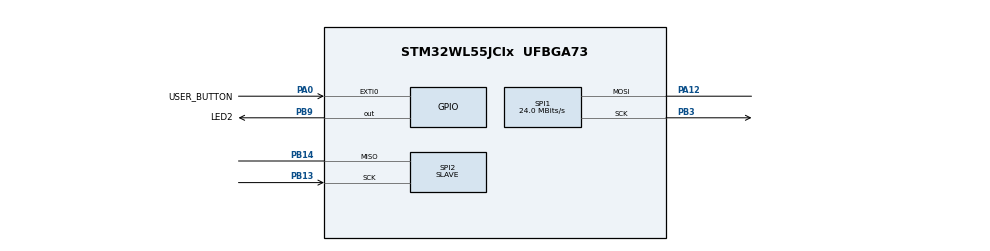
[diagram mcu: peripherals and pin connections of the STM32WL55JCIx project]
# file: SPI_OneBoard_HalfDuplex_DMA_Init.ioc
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Dma.Request0=SPI1_TX
Dma.Request1=SPI2_RX
Dma.SPI1_TX.0.Channel_PRIV_NPRIV=DMA_CHANNEL_NPRIV_DISABLE
Dma.SPI1_TX.0.Direction=DMA_MEMORY_TO_PERIPH
Dma.SPI1_TX.0.EventEnable=DISABLE
Dma.SPI1_TX.0.Instance=DMA1_Channel3
Dma.SPI1_TX.0.MemDataAlignment=DMA_MDATAALIGN_BYTE
Dma.SPI1_TX.0.MemInc=DMA_MINC_ENABLE
Dma.SPI1_TX.0.Mode=DMA_NORMAL
Dma.SPI1_TX.0.PeriphDataAlignment=DMA_PDATAALIGN_BYTE
Dma.SPI1_TX.0.PeriphInc=DMA_PINC_DISABLE
Dma.SPI1_TX.0.Polarity=HAL_DMAMUX_REQ_GEN_RISING
Dma.SPI1_TX.0.Priority=DMA_PRIORITY_LOW
Dma.SPI1_TX.0.RequestNumber=1
Dma.SPI1_TX.0.SignalID=NONE
Dma.SPI1_TX.0.SyncEnable=DISABLE
Dma.SPI1_TX.0.SyncPolarity=HAL_DMAMUX_SYNC_NO_EVENT
Dma.SPI1_TX.0.SyncRequestNumber=1
Dma.SPI1_TX.0.SyncSignalID=NONE
Dma.SPI2_RX.1.Channel_PRIV_NPRIV=DMA_CHANNEL_NPRIV_DISABLE
Dma.SPI2_RX.1.Direction=DMA_PERIPH_TO_MEMORY
Dma.SPI2_RX.1.EventEnable=DISABLE
Dma.SPI2_RX.1.Instance=DMA2_Channel1
Dma.SPI2_RX.1.MemDataAlignment=DMA_MDATAALIGN_BYTE
Dma.SPI2_RX.1.MemInc=DMA_MINC_ENABLE
Dma.SPI2_RX.1.Mode=DMA_NORMAL
Dma.SPI2_RX.1.PeriphDataAlignment=DMA_PDATAALIGN_BYTE
Dma.SPI2_RX.1.PeriphInc=DMA_PINC_DISABLE
Dma.SPI2_RX.1.Polarity=HAL_DMAMUX_REQ_GEN_RISING
Dma.SPI2_RX.1.Priority=DMA_PRIORITY_LOW
Dma.SPI2_RX.1.RequestNumber=1
Dma.SPI2_RX.1.SignalID=NONE
Dma.SPI2_RX.1.SyncEnable=DISABLE
Dma.SPI2_RX.1.SyncPolarity=HAL_DMAMUX_SYNC_NO_EVENT
Dma.SPI2_RX.1.SyncRequestNumber=1
Dma.SPI2_RX.1.SyncSignalID=NONE
Mcu.Family=STM32WL
Mcu.Name=STM32WL55JCIx
Mcu.Package=UFBGA73
NVIC.DMA1_Channel3_IRQn=true\:0\:0\:false\:false\:true\:false\:true
NVIC.DMA2_Channel1_IRQn=true\:0\:0\:false\:false\:true\:false\:true
NVIC.EXTI0_IRQn=true\:0\:0\:false\:false\:true\:true\:true
NVIC.PriorityGroup=NVIC_PRIORITYGROUP_4
PA0.GPIO_Label=USER_BUTTON
PA0.GPIO_ModeDefaultEXTI=GPIO_MODE_IT_FALLING
PA0.GPIO_PuPd=GPIO_PULLUP
PA0.Signal=GPXTI0
PA12.GPIO_PuPd=GPIO_PULLDOWN
PA12.GPIO_Speed=GPIO_SPEED_FREQ_HIGH
PA12.Mode=Simplex_Bidirectional_Master
PA12.Signal=SPI1_MOSI
PB13.GPIO_PuPd=GPIO_PULLDOWN
PB13.GPIO_Speed=GPIO_SPEED_FREQ_HIGH
PB13.Mode=Simplex_Bidirectional_Slave
PB13.Signal=SPI2_SCK
PB14.GPIO_PuPd=GPIO_PULLDOWN
PB14.GPIO_Speed=GPIO_SPEED_FREQ_HIGH
PB14.Mode=Simplex_Bidirectional_Slave
PB14.Signal=SPI2_MISO
PB3.GPIO_PuPd=GPIO_PULLDOWN
PB3.GPIO_Speed=GPIO_SPEED_FREQ_HIGH
PB3.Mode=Simplex_Bidirectional_Master
PB3.Signal=SPI1_SCK
PB9.GPIO_Label=LED2
PB9.Signal=GPIO_Output
ProjectManager.HeapSize=0x200
ProjectManager.StackSize=0x400
ProjectManager.TargetToolchain=EWARM V8
RCC.AHBFreq_Value=48000000
RCC.APB1Freq_Value=48000000
RCC.APB1TimFreq_Value=48000000
RCC.APB2Freq_Value=48000000
RCC.APB2TimFreq_Value=48000000
RCC.APB3Freq_Value=48000000
RCC.CortexFreq_Value=48000000
RCC.HCLKFreq_Value=48000000
RCC.HSE_VALUE=8000000
RCC.HSI_VALUE=16000000
RCC.LSE_VALUE=32768
RCC.MSIClockRange=RCC_MSIRANGE_11
RCC.SYSCLKFreq_VALUE=48000000
RCC.VCOOutputFreq_Value=384000000
SPI1.CLKPhase=SPI_PHASE_2EDGE
SPI1.CLKPolarity=SPI_POLARITY_HIGH
SPI1.CRCCalculation=SPI_CRCCALCULATION_DISABLE
SPI1.CalculateBaudRate=24.0 MBits/s
SPI1.DataSize=SPI_DATASIZE_8BIT
SPI1.Direction=SPI_DIRECTION_1LINE
SPI1.FirstBit=SPI_FIRSTBIT_MSB
SPI1.Mode=SPI_MODE_MASTER
SPI1.NSS=SPI_NSS_SOFT
SPI1.TIMode=SPI_TIMODE_DISABLE
SPI1.VirtualType=VM_MASTER
SPI2.CLKPhase=SPI_PHASE_2EDGE
SPI2.CLKPolarity=SPI_POLARITY_HIGH
SPI2.CRCCalculation=SPI_CRCCALCULATION_DISABLE
SPI2.DataSize=SPI_DATASIZE_8BIT
SPI2.Direction=SPI_DIRECTION_1LINE
SPI2.FirstBit=SPI_FIRSTBIT_MSB
SPI2.Mode=SPI_MODE_SLAVE
SPI2.NSS=SPI_NSS_SOFT
SPI2.TIMode=SPI_TIMODE_DISABLE
SPI2.VirtualType=VM_SLAVE
board=custom

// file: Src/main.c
/* USER CODE BEGIN Header */
/**
  ******************************************************************************
  * @file    Examples_LL/SPI/SPI_OneBoard_HalfDuplex_DMA_Init/Src/main.c
  * @author  MCD Application Team
  * @brief   This example describes how to send/receive bytes over SPI IP using
  *          the STM32WLxx SPI LL API.
  *          Peripheral initialization done using LL initialization function.
  ******************************************************************************
  * @attention
  *
  * <h2><center>&copy; Copyright (c) 2020 STMicroelectronics.
  * All rights reserved.</center></h2>
  *
  * This software component is licensed by ST under BSD 3-Clause license,
  * the "License"; You may not use this file except in compliance with the
  * License. You may obtain a copy of the License at:
  *                        opensource.org/licenses/BSD-3-Clause
  *
  ******************************************************************************
  */
/* USER CODE END Header */
#include "main.h"

/* USER CODE BEGIN PTD */
LL_SPI_InitTypeDef spi_initstruct;
/* USER CODE END PTD */

/* USER CODE BEGIN PV */
__IO uint8_t ubButtonPress = 0;

/* Buffer used for transmission */
uint8_t aTxBuffer[] = "**** SPI_OneBoard_HalfDuplex_DMA_Init communication **** SPI_OneBoard_HalfDuplex_DMA_Init communication **** SPI_OneBoard_HalfDuplex_DMA_Init communication ****";
uint8_t ubNbDataToTransmit = sizeof(aTxBuffer);
__IO uint8_t ubTransmissionComplete = 0;

/* Buffer used for reception */
uint8_t aRxBuffer[sizeof(aTxBuffer)];
uint8_t ubNbDataToReceive = sizeof(aTxBuffer);
__IO uint8_t ubReceptionComplete = 0;
/* USER CODE END PV */

void SystemClock_Config(void);
static void MX_GPIO_Init(void);
static void MX_DMA_Init(void);
static void MX_SPI1_Init(void);
static void MX_SPI2_Init(void);
/* USER CODE BEGIN PFP */
void     SystemClock_Config(void);
void     Activate_SPI1(void);
void     Activate_SPI2(void);
void     LED_On(void);
void     LED_Blinking(uint32_t Period);
void     LED_Off(void);
void     UserButton_Init(void);
void     WaitForUserButtonPress(void);
void     WaitAndCheckEndOfTransfer(void);
uint8_t  Buffercmp8(uint8_t *pBuffer1, uint8_t *pBuffer2, uint8_t BufferLength);
/* USER CODE END PFP */

int main(void)
{

  /* MCU Configuration--------------------------------------------------------*/

  /* Reset of all peripherals, Initializes the Flash interface and the Systick. */

  NVIC_SetPriorityGrouping(NVIC_PRIORITYGROUP_4);

  /* System interrupt init*/

  /* Configure the system clock */
  SystemClock_Config();

  /* Initialize all configured peripherals */
  MX_GPIO_Init();
  MX_DMA_Init();
  MX_SPI1_Init();
  MX_SPI2_Init();
  /* USER CODE BEGIN 2 */
  /* Configure the DMA1_Channel3 functional parameters */
  LL_DMA_ConfigTransfer(DMA1,
                        LL_DMA_CHANNEL_3,
                        LL_DMA_DIRECTION_MEMORY_TO_PERIPH | LL_DMA_PRIORITY_HIGH | LL_DMA_MODE_NORMAL |
                        LL_DMA_PERIPH_NOINCREMENT | LL_DMA_MEMORY_INCREMENT |
                        LL_DMA_PDATAALIGN_BYTE | LL_DMA_MDATAALIGN_BYTE);
  LL_DMA_ConfigAddresses(DMA1,
                         LL_DMA_CHANNEL_3,
                         (uint32_t)aTxBuffer, LL_SPI_DMA_GetRegAddr(SPI1),
                         LL_DMA_GetDataTransferDirection(DMA1, LL_DMA_CHANNEL_3));

  LL_DMA_SetDataLength(DMA1, LL_DMA_CHANNEL_3, ubNbDataToTransmit);
  LL_DMA_SetPeriphRequest(DMA1, LL_DMA_CHANNEL_3, LL_DMAMUX_REQ_SPI1_TX);

  /* Configure the DMA2_Channel1 functional parameters */
  LL_DMA_ConfigTransfer(DMA2,
                        LL_DMA_CHANNEL_1,
                        LL_DMA_DIRECTION_PERIPH_TO_MEMORY | LL_DMA_PRIORITY_HIGH | LL_DMA_MODE_NORMAL |
                        LL_DMA_PERIPH_NOINCREMENT | LL_DMA_MEMORY_INCREMENT |
                        LL_DMA_PDATAALIGN_BYTE | LL_DMA_MDATAALIGN_BYTE);
  LL_DMA_ConfigAddresses(DMA2, LL_DMA_CHANNEL_1, LL_SPI_DMA_GetRegAddr(SPI2), (uint32_t)aRxBuffer,
                         LL_DMA_GetDataTransferDirection(DMA2, LL_DMA_CHANNEL_1));
  LL_DMA_SetDataLength(DMA2, LL_DMA_CHANNEL_1, ubNbDataToTransmit);
  LL_DMA_SetPeriphRequest(DMA2, LL_DMA_CHANNEL_1, LL_DMAMUX_REQ_SPI2_RX);

  /* Enable DMA interrupts complete/error */
  LL_DMA_EnableIT_TC(DMA1, LL_DMA_CHANNEL_3);
  LL_DMA_EnableIT_TE(DMA1, LL_DMA_CHANNEL_3);
  LL_DMA_EnableIT_TC(DMA2, LL_DMA_CHANNEL_1);
  LL_DMA_EnableIT_TE(DMA2, LL_DMA_CHANNEL_1);

  /* Initialize FFIFO Threshold */
  LL_SPI_SetRxFIFOThreshold(SPI1, LL_SPI_RX_FIFO_TH_QUARTER);

  /* Configure SPI1 DMA transfer interrupts */
  /* Enable DMA TX Interrupt */
  LL_SPI_EnableDMAReq_TX(SPI1);

  /* Initialize FFIFO Threshold */
  LL_SPI_SetRxFIFOThreshold(SPI2, LL_SPI_RX_FIFO_TH_QUARTER);

  /* Configure SPI1 DMA transfer interrupts */
  /* Enable DMA RX Interrupt */
  LL_SPI_EnableDMAReq_RX(SPI2);

  /* Enable the SPI2 peripheral */
  Activate_SPI2();

  /* Wait for User push-button (B1) press to start transfer */
  WaitForUserButtonPress();

  /* Enable the SPI1 peripheral */
  Activate_SPI1();

  /* Wait for the end of the transfer and check received data */
  /* LED blinking FAST during waiting time */
  WaitAndCheckEndOfTransfer();
  /* USER CODE END 2 */

  /* Infinite loop */
  while (1)
  {

  }
}

void SystemClock_Config(void)
{
  LL_FLASH_SetLatency(LL_FLASH_LATENCY_2);
  while(LL_FLASH_GetLatency() != LL_FLASH_LATENCY_2)
  {
  }

  LL_PWR_SetRegulVoltageScaling(LL_PWR_REGU_VOLTAGE_SCALE1);
  LL_RCC_HSI_Enable();

   /* Wait till HSI is ready */
  while(LL_RCC_HSI_IsReady() != 1)
  {
  }

  LL_RCC_HSI_SetCalibTrimming(64);
  LL_RCC_MSI_Enable();

   /* Wait till MSI is ready */
  while(LL_RCC_MSI_IsReady() != 1)
  {
  }

  LL_RCC_MSI_EnableRangeSelection();
  LL_RCC_MSI_SetRange(LL_RCC_MSIRANGE_11);
  LL_RCC_MSI_SetCalibTrimming(0);
  LL_RCC_SetSysClkSource(LL_RCC_SYS_CLKSOURCE_MSI);

   /* Wait till System clock is ready */
  while(LL_RCC_GetSysClkSource() != LL_RCC_SYS_CLKSOURCE_STATUS_MSI)
  {
  }

  LL_RCC_SetAHBPrescaler(LL_RCC_SYSCLK_DIV_1);
  LL_RCC_SetAHB3Prescaler(LL_RCC_SYSCLK_DIV_1);
  LL_RCC_SetAPB1Prescaler(LL_RCC_APB1_DIV_1);
  LL_RCC_SetAPB2Prescaler(LL_RCC_APB2_DIV_1);

  LL_Init1msTick(48000000);

  /* Update CMSIS variable (which can be updated also through SystemCoreClockUpdate function) */
  LL_SetSystemCoreClock(48000000);
}

static void MX_SPI1_Init(void)
{

  LL_SPI_InitTypeDef SPI_InitStruct = {0};

  LL_GPIO_InitTypeDef GPIO_InitStruct = {0};

  /* Peripheral clock enable */
  LL_APB2_GRP1_EnableClock(LL_APB2_GRP1_PERIPH_SPI1);

  LL_AHB2_GRP1_EnableClock(LL_AHB2_GRP1_PERIPH_GPIOA);
  LL_AHB2_GRP1_EnableClock(LL_AHB2_GRP1_PERIPH_GPIOB);
  /**SPI1 GPIO Configuration
  PA12   ------> SPI1_MOSI
  PB3   ------> SPI1_SCK
  */
  GPIO_InitStruct.Pin = LL_GPIO_PIN_12;
  GPIO_InitStruct.Mode = LL_GPIO_MODE_ALTERNATE;
  GPIO_InitStruct.Speed = LL_GPIO_SPEED_FREQ_HIGH;
  GPIO_InitStruct.OutputType = LL_GPIO_OUTPUT_PUSHPULL;
  GPIO_InitStruct.Pull = LL_GPIO_PULL_DOWN;
  GPIO_InitStruct.Alternate = LL_GPIO_AF_5;
  LL_GPIO_Init(GPIOA, &GPIO_InitStruct);

  GPIO_InitStruct.Pin = LL_GPIO_PIN_3;
  GPIO_InitStruct.Mode = LL_GPIO_MODE_ALTERNATE;
  GPIO_InitStruct.Speed = LL_GPIO_SPEED_FREQ_HIGH;
  GPIO_InitStruct.OutputType = LL_GPIO_OUTPUT_PUSHPULL;
  GPIO_InitStruct.Pull = LL_GPIO_PULL_DOWN;
  GPIO_InitStruct.Alternate = LL_GPIO_AF_5;
  LL_GPIO_Init(GPIOB, &GPIO_InitStruct);

  /* SPI1 DMA Init */

  /* SPI1_TX Init */
  LL_DMA_SetPeriphRequest(DMA1, LL_DMA_CHANNEL_3, LL_DMAMUX_REQ_SPI1_TX);

  LL_DMA_SetDataTransferDirection(DMA1, LL_DMA_CHANNEL_3, LL_DMA_DIRECTION_MEMORY_TO_PERIPH);

  LL_DMA_SetChannelPriorityLevel(DMA1, LL_DMA_CHANNEL_3, LL_DMA_PRIORITY_LOW);

  LL_DMA_SetMode(DMA1, LL_DMA_CHANNEL_3, LL_DMA_MODE_NORMAL);

  LL_DMA_SetPeriphIncMode(DMA1, LL_DMA_CHANNEL_3, LL_DMA_PERIPH_NOINCREMENT);

  LL_DMA_SetMemoryIncMode(DMA1, LL_DMA_CHANNEL_3, LL_DMA_MEMORY_INCREMENT);

  LL_DMA_SetPeriphSize(DMA1, LL_DMA_CHANNEL_3, LL_DMA_PDATAALIGN_BYTE);

  LL_DMA_SetMemorySize(DMA1, LL_DMA_CHANNEL_3, LL_DMA_MDATAALIGN_BYTE);

  LL_DMA_DisableChannelPrivilege(DMA1, LL_DMA_CHANNEL_3);

  /* SPI1 parameter configuration*/
  SPI_InitStruct.TransferDirection = LL_SPI_HALF_DUPLEX_TX;
  SPI_InitStruct.Mode = LL_SPI_MODE_MASTER;
  SPI_InitStruct.DataWidth = LL_SPI_DATAWIDTH_8BIT;
  SPI_InitStruct.ClockPolarity = LL_SPI_POLARITY_HIGH;
  SPI_InitStruct.ClockPhase = LL_SPI_PHASE_2EDGE;
  SPI_InitStruct.NSS = LL_SPI_NSS_SOFT;
  SPI_InitStruct.BaudRate = LL_SPI_BAUDRATEPRESCALER_DIV2;
  SPI_InitStruct.BitOrder = LL_SPI_MSB_FIRST;
  SPI_InitStruct.CRCCalculation = LL_SPI_CRCCALCULATION_DISABLE;
  SPI_InitStruct.CRCPoly = 7;
  LL_SPI_Init(SPI1, &SPI_InitStruct);
  LL_SPI_SetStandard(SPI1, LL_SPI_PROTOCOL_MOTOROLA);
  LL_SPI_DisableNSSPulseMgt(SPI1);

}

static void MX_SPI2_Init(void)
{

  LL_SPI_InitTypeDef SPI_InitStruct = {0};

  LL_GPIO_InitTypeDef GPIO_InitStruct = {0};

  LL_RCC_SetI2SClockSource(LL_RCC_I2S2_CLKSOURCE_HSI);

  /* Peripheral clock enable */
  LL_APB1_GRP1_EnableClock(LL_APB1_GRP1_PERIPH_SPI2);

  LL_AHB2_GRP1_EnableClock(LL_AHB2_GRP1_PERIPH_GPIOB);
  /**SPI2 GPIO Configuration
  PB14   ------> SPI2_MISO
  PB13   ------> SPI2_SCK
  */
  GPIO_InitStruct.Pin = LL_GPIO_PIN_14|LL_GPIO_PIN_13;
  GPIO_InitStruct.Mode = LL_GPIO_MODE_ALTERNATE;
  GPIO_InitStruct.Speed = LL_GPIO_SPEED_FREQ_HIGH;
  GPIO_InitStruct.OutputType = LL_GPIO_OUTPUT_PUSHPULL;
  GPIO_InitStruct.Pull = LL_GPIO_PULL_DOWN;
  GPIO_InitStruct.Alternate = LL_GPIO_AF_5;
  LL_GPIO_Init(GPIOB, &GPIO_InitStruct);

  /* SPI2 DMA Init */

  /* SPI2_RX Init */
  LL_DMA_SetPeriphRequest(DMA2, LL_DMA_CHANNEL_1, LL_DMAMUX_REQ_SPI2_RX);

  LL_DMA_SetDataTransferDirection(DMA2, LL_DMA_CHANNEL_1, LL_DMA_DIRECTION_PERIPH_TO_MEMORY);

  LL_DMA_SetChannelPriorityLevel(DMA2, LL_DMA_CHANNEL_1, LL_DMA_PRIORITY_LOW);

  LL_DMA_SetMode(DMA2, LL_DMA_CHANNEL_1, LL_DMA_MODE_NORMAL);

  LL_DMA_SetPeriphIncMode(DMA2, LL_DMA_CHANNEL_1, LL_DMA_PERIPH_NOINCREMENT);

  LL_DMA_SetMemoryIncMode(DMA2, LL_DMA_CHANNEL_1, LL_DMA_MEMORY_INCREMENT);

  LL_DMA_SetPeriphSize(DMA2, LL_DMA_CHANNEL_1, LL_DMA_PDATAALIGN_BYTE);

  LL_DMA_SetMemorySize(DMA2, LL_DMA_CHANNEL_1, LL_DMA_MDATAALIGN_BYTE);

  LL_DMA_DisableChannelPrivilege(DMA2, LL_DMA_CHANNEL_1);

  /* SPI2 parameter configuration*/
  SPI_InitStruct.TransferDirection = LL_SPI_HALF_DUPLEX_RX;
  SPI_InitStruct.Mode = LL_SPI_MODE_SLAVE;
  SPI_InitStruct.DataWidth = LL_SPI_DATAWIDTH_8BIT;
  SPI_InitStruct.ClockPolarity = LL_SPI_POLARITY_HIGH;
  SPI_InitStruct.ClockPhase = LL_SPI_PHASE_2EDGE;
  SPI_InitStruct.NSS = LL_SPI_NSS_SOFT;
  SPI_InitStruct.BitOrder = LL_SPI_MSB_FIRST;
  SPI_InitStruct.CRCCalculation = LL_SPI_CRCCALCULATION_DISABLE;
  SPI_InitStruct.CRCPoly = 7;
  LL_SPI_Init(SPI2, &SPI_InitStruct);
  LL_SPI_SetStandard(SPI2, LL_SPI_PROTOCOL_MOTOROLA);
  LL_SPI_DisableNSSPulseMgt(SPI2);

}

static void MX_DMA_Init(void)
{

  /* Init with LL driver */
  /* DMA controller clock enable */
  LL_AHB1_GRP1_EnableClock(LL_AHB1_GRP1_PERIPH_DMAMUX1);
  LL_AHB1_GRP1_EnableClock(LL_AHB1_GRP1_PERIPH_DMA1);
  LL_AHB1_GRP1_EnableClock(LL_AHB1_GRP1_PERIPH_DMA2);

  /* DMA interrupt init */
  /* DMA1_Channel3_IRQn interrupt configuration */
  NVIC_SetPriority(DMA1_Channel3_IRQn, NVIC_EncodePriority(NVIC_GetPriorityGrouping(),0, 0));
  NVIC_EnableIRQ(DMA1_Channel3_IRQn);
  /* DMA2_Channel1_IRQn interrupt configuration */
  NVIC_SetPriority(DMA2_Channel1_IRQn, NVIC_EncodePriority(NVIC_GetPriorityGrouping(),0, 0));
  NVIC_EnableIRQ(DMA2_Channel1_IRQn);

}

static void MX_GPIO_Init(void)
{
  LL_EXTI_InitTypeDef EXTI_InitStruct = {0};
  LL_GPIO_InitTypeDef GPIO_InitStruct = {0};

  /* GPIO Ports Clock Enable */
  LL_AHB2_GRP1_EnableClock(LL_AHB2_GRP1_PERIPH_GPIOA);
  LL_AHB2_GRP1_EnableClock(LL_AHB2_GRP1_PERIPH_GPIOB);

  /**/
  LL_GPIO_ResetOutputPin(LED2_GPIO_Port, LED2_Pin);

  /**/
  GPIO_InitStruct.Pin = LED2_Pin;
  GPIO_InitStruct.Mode = LL_GPIO_MODE_OUTPUT;
  GPIO_InitStruct.Speed = LL_GPIO_SPEED_FREQ_LOW;
  GPIO_InitStruct.OutputType = LL_GPIO_OUTPUT_PUSHPULL;
  GPIO_InitStruct.Pull = LL_GPIO_PULL_NO;
  LL_GPIO_Init(LED2_GPIO_Port, &GPIO_InitStruct);

  /**/
  LL_SYSCFG_SetEXTISource(LL_SYSCFG_EXTI_PORTA, LL_SYSCFG_EXTI_LINE0);

  /**/
  EXTI_InitStruct.Line_0_31 = LL_EXTI_LINE_0;
  EXTI_InitStruct.Line_32_63 = LL_EXTI_LINE_NONE;
  EXTI_InitStruct.LineCommand = ENABLE;
  EXTI_InitStruct.Mode = LL_EXTI_MODE_IT;
  EXTI_InitStruct.Trigger = LL_EXTI_TRIGGER_FALLING;
  LL_EXTI_Init(&EXTI_InitStruct);

  /**/
  LL_GPIO_SetPinPull(USER_BUTTON_GPIO_Port, USER_BUTTON_Pin, LL_GPIO_PULL_UP);

  /**/
  LL_GPIO_SetPinMode(USER_BUTTON_GPIO_Port, USER_BUTTON_Pin, LL_GPIO_MODE_INPUT);

  /* EXTI interrupt init*/
  NVIC_SetPriority(EXTI0_IRQn, NVIC_EncodePriority(NVIC_GetPriorityGrouping(),0, 0));
  NVIC_EnableIRQ(EXTI0_IRQn);

}

/* USER CODE BEGIN 4 */

/**
  * @brief  This function Activate SPI1
  * @param  None
  * @retval None
  */
void Activate_SPI1(void)
{
  /* Enable SPI1 */
  LL_SPI_Enable(SPI1);
  /* Enable DMA Channels Tx */
  LL_DMA_EnableChannel(DMA1, LL_DMA_CHANNEL_3);
}

/**
  * @brief  This function Activate SPI2
  * @param  None
  * @retval None
  */
void Activate_SPI2(void)
{
  /* Enable SPI2 */
  LL_SPI_Enable(SPI2);
  /* Enable DMA Channels Rx */
  LL_DMA_EnableChannel(DMA2, LL_DMA_CHANNEL_1);
}

/**
  * @brief  Turn-on LED2.
  * @param  None
  * @retval None
  */
void LED_On(void)
{
  /* Turn LED2 on */
  LL_GPIO_SetOutputPin(LED2_GPIO_PORT, LED2_PIN);
}

/**
  * @brief  Turn-off LED2.
  * @param  None
  * @retval None
  */
void LED_Off(void)
{
  /* Turn LED2 off */
  LL_GPIO_ResetOutputPin(LED2_GPIO_PORT, LED2_PIN);
}

/**
  * @brief  Set LED2 to Blinking mode for an infinite loop (toggle period based on value provided as input parameter).
  * @param  Period : Period of time (in ms) between each toggling of LED
  *   This parameter can be user defined values. Pre-defined values used in that example are :
  *     @arg LED_BLINK_FAST : Fast Blinking
  *     @arg LED_BLINK_SLOW : Slow Blinking
  *     @arg LED_BLINK_ERROR : Error specific Blinking
  * @retval None
  */
void LED_Blinking(uint32_t Period)
{
  /* Toggle LED2 in an infinite loop */
  while (1)
  {
    LL_GPIO_TogglePin(LED2_GPIO_PORT, LED2_PIN);
    LL_mDelay(Period);
  }
}

/**
  * @brief  Wait for User push-button (B1) press to start transfer.
  * @param  None
  * @retval None
  */
/*  */
void WaitForUserButtonPress(void)
{
  while (ubButtonPress == 0)
  {
    LL_GPIO_TogglePin(LED2_GPIO_PORT, LED2_PIN);
    LL_mDelay(LED_BLINK_FAST);
  }
  /* Ensure that LED2 is turned Off */
  LED_Off();
}

/**
  * @brief  Wait end of transfer and check if received Data are well.
  * @param  None
  * @retval None
  */
void WaitAndCheckEndOfTransfer(void)
{
  /* 1 - Wait end of transmission */
  while (ubTransmissionComplete != 1)
  {
  }
  /* Disable DMA1 Tx Channel */
  LL_DMA_DisableChannel(DMA1, LL_DMA_CHANNEL_3);
  /* 2 - Wait end of reception */
  while (ubReceptionComplete != 1)
  {
  }
  /* Disable DMA2 Rx Channel */
  LL_DMA_DisableChannel(DMA2, LL_DMA_CHANNEL_1);
  /* 3 - Compare Transmit data to receive data */
  if (Buffercmp8((uint8_t *)aTxBuffer, (uint8_t *)aRxBuffer, ubNbDataToTransmit))
  {
    /* Processing Error */
    LED_Blinking(LED_BLINK_ERROR);
  }
  else
  {
    /* Turn On Led if data are well received */
    LED_On();
  }
}

/**
* @brief Compares two 8-bit buffers and returns the comparison result.
* @param pBuffer1: pointer to the source buffer to be compared to.
* @param pBuffer2: pointer to the second source buffer to be compared to the first.
* @param BufferLength: buffer's length.
* @retval   0: Comparison is OK (the two Buffers are identical)
*           Value different from 0: Comparison is NOK (Buffers are different)
*/
uint8_t Buffercmp8(uint8_t *pBuffer1, uint8_t *pBuffer2, uint8_t BufferLength)
{
  while (BufferLength--)
  {
    if (*pBuffer1 != *pBuffer2)
    {
      return 1;
    }

    pBuffer1++;
    pBuffer2++;
  }

  return 0;
}

/******************************************************************************/
/*   USER IRQ HANDLER TREATMENT Functions                                     */
/******************************************************************************/
/**
  * @brief  Function to manage User push-button (B1)
  * @param  None
  * @retval None
  */
void UserButton_Callback(void)
{
  /* Update User push-button (B1) variable : to be checked in waiting loop in main program */
  ubButtonPress = 1;
}

/**
  * @brief  Function called from DMA1 IRQ Handler when Tx transfer is completed
  * @param  None
  * @retval None
  */
void DMA1_TransmitComplete_Callback(void)
{
  /* DMA Tx transfer completed */
  ubTransmissionComplete = 1;
}

/**
  * @brief  Function called from DMA2 IRQ Handler when Rx transfer is completed
  * @param  None
  * @retval None
  */
void DMA2_ReceiveComplete_Callback(void)
{
  /* DMA Rx transfer completed */
  ubReceptionComplete = 1;
}

/**
  * @brief  Function called in case of error detected in SPI IT Handler
  * @param  None
  * @retval None
  */
void SPI_TransferError_Callback(void)
{
  /* Disable DMA1 Tx Channel */
  LL_DMA_DisableChannel(DMA1, LL_DMA_CHANNEL_3);
  /* Disable DMA2 Rx Channel */
  LL_DMA_DisableChannel(DMA2, LL_DMA_CHANNEL_1);

  /* Set LED2 to Blinking mode to indicate error occurs */
  LED_Blinking(LED_BLINK_ERROR);
}

/* USER CODE END 4 */

void Error_Handler(void)
{
}

/************************ (C) COPYRIGHT STMicroelectronics *****END OF FILE****/
